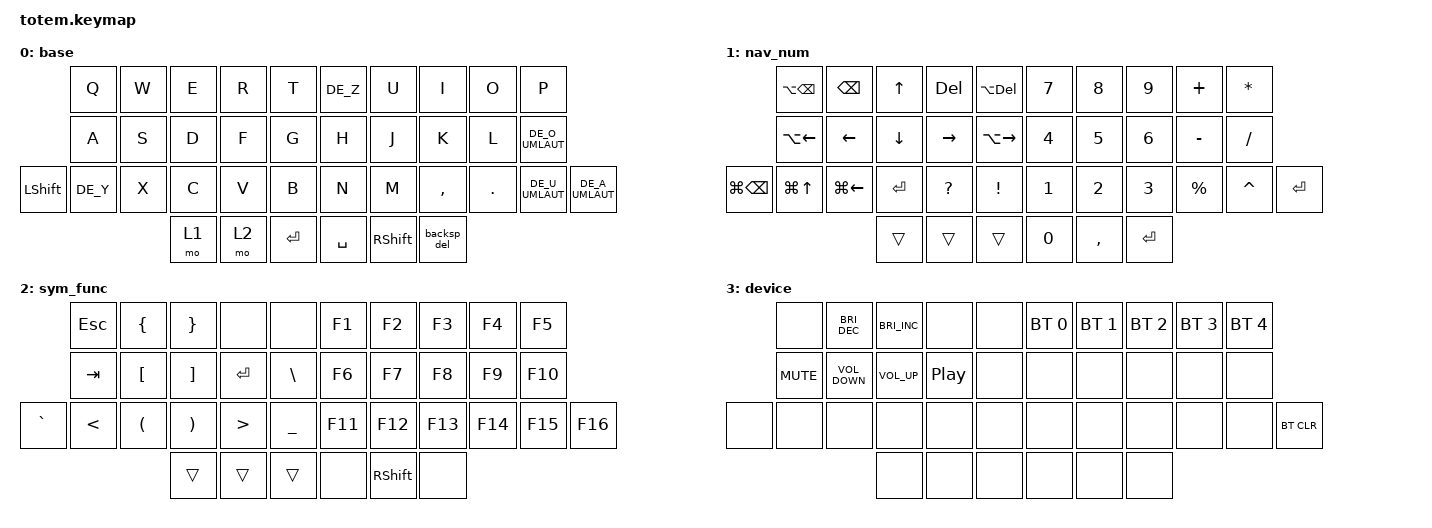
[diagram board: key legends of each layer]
//
//                                                        ▀▀▀▀▀     ▀▀▀▀▀          ▀▀█▀▀
//                                                        ▄▀▀▀▄  ▄  ▄▀▀▀▄  ▄  ▄▀▀▀▄  █  ▄▀▀▀▄
//                                                        █   █  █  █   █  █  █   █  █  █   █
//                                                         ▀▀▀   █   ▀▀▀   █   ▀▀▀   ▀   ▀▀▀
//                                                               █      ▄▄▄█▄▄▄    █   █  
//                                                               ▀      █  █  █     █▄█
//                                                             ▀▀▀▀▀    █  █  █      ▀
//                                                                      ▀  ▀  ▀
//
// ▄▄▄▄▄▄▄▄▄▄▄▄▄▄▄▄▄▄▄▄▄▄▄▄▄▄▄▄▄▄▄▄▄▄▄▄▄▄▄▄▄▄▄▄▄▄▄▄▄▄▄▄▄▄▄▄▄▄▄▄▄▄▄▄▄▄▄▄▄▄▄▄▄▄▄▄▄▄▄▄▄▄▄▄▄▄▄▄▄▄▄▄▄▄▄▄▄▄▄▄▄▄▄▄▄▄▄▄▄▄▄▄▄▄▄▄▄▄▄▄▄▄▄▄▄▄▄▄▄▄▄▄▄▄▄▄▄▄▄▄▄▄▄▄▄▄▄▄▄

#include <behaviors.dtsi>
#include <dt-bindings/zmk/bt.h>
#include <dt-bindings/zmk/keys.h>
#include "keys_de.h"

/ {
    behaviors {
        backsp_del: backsp_del {
            compatible = "zmk,behavior-mod-morph";
            label = "BACKSP_DEL";
            bindings = <&kp BACKSPACE>, <&kp DELETE>;

            #binding-cells = <0>;
            mods = <(MOD_LSFT|MOD_RSFT)>;
        };
    };

    keymap {
        compatible = "zmk,keymap";

        base {
            bindings = <
                &kp Q     &kp W  &kp E  &kp R  &kp T        &kp DE_Z   &kp U            &kp I        &kp O    &kp P
                &kp A     &kp S  &kp D  &kp F  &kp G        &kp H      &kp J            &kp K        &kp L    &kp DE_O_UMLAUT
&kp LEFT_SHIFT  &kp DE_Y  &kp X  &kp C  &kp V  &kp B        &kp N      &kp M            &kp COMMA    &kp DOT  &kp DE_U_UMLAUT  &kp DE_A_UMLAUT
                                 &mo 1  &mo 2  &kp ENTER    &kp SPACE  &kp RIGHT_SHIFT  &backsp_del
            >;
        };

        nav_num {
            bindings = <
                   &kp LA(BACKSPACE)   &kp BACKSPACE  &kp UP     &kp DELETE    &kp LA(DELETE)     &kp N7  &kp N8     &kp N9   &kp PLUS   &kp STAR
                   &kp LA(LEFT_ARROW)  &kp LEFT       &kp DOWN   &kp RIGHT     &kp LA(RIGHT)      &kp N4  &kp N5     &kp N6   &kp MINUS  &kp FSLH
&kp LG(BACKSPACE)  &kp LG(UP_ARROW)    &kp LG(LEFT)   &kp ENTER  &kp QUESTION  &kp EXCLAMATION    &kp N1  &kp N2     &kp N3   &kp PRCNT  &kp CARET  &kp ENTER
                                                      &trans     &trans        &trans             &kp N0  &kp COMMA  &kp RET
            >;
        };

        sym_func {
            bindings = <
           &kp ESC        &kp LEFT_BRACE        &kp RIGHT_BRACE        &none             &none             &kp F1   &kp F2           &kp F3   &kp F4   &kp F5
           &kp TAB        &kp LBKT              &kp RBKT               &kp ENTER         &kp BSLH          &kp F6   &kp F7           &kp F8   &kp F9   &kp F10
&kp GRAVE  &kp LESS_THAN  &kp LEFT_PARENTHESIS  &kp RIGHT_PARENTHESIS  &kp GREATER_THAN  &kp UNDERSCORE    &kp F11  &kp F12          &kp F13  &kp F14  &kp F15  &kp F16
                                                &trans                 &trans            &trans            &none    &kp RIGHT_SHIFT  &none
            >;
        };

        device {
            bindings = <
       &none       &kp C_BRIGHTNESS_DEC  &kp C_BRIGHTNESS_INC  &none             &none    &bt BT_SEL 0  &bt BT_SEL 1  &bt BT_SEL 2  &bt BT_SEL 3  &bt BT_SEL 4
       &kp K_MUTE  &kp C_VOLUME_DOWN     &kp C_VOLUME_UP       &kp C_PLAY_PAUSE  &none    &none         &none         &none         &none         &none
&none  &none       &none                 &none                 &none             &none    &none         &none         &none         &none         &none         &bt BT_CLR
                                         &none                 &none             &none    &none         &none         &none
            >;
        };

        extra1 { status = "reserved"; };

        extra2 { status = "reserved"; };

        extra3 { status = "reserved"; };
    };

    conditional_layers {
        compatible = "zmk,conditional-layers";

        device {
            if-layers = <1 2>;
            then-layer = <3>;
        };
    };
};
